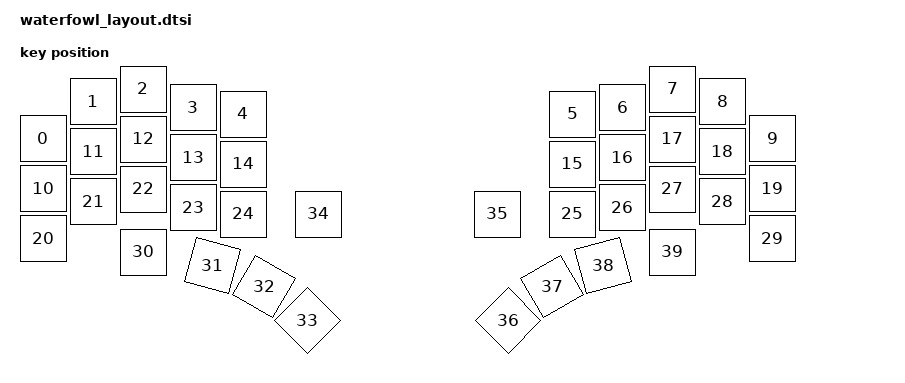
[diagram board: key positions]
/*
 * Waterfowl physical layout, needed by ZMK Studio to draw the keyboard.
 *
 * The upstream shield only defines a matrix transform, so we add a physical
 * layout here and point the chosen node at it. (The old matrix-transform
 * chosen entry is removed in waterfowl.keymap, the only file ZMK loads after
 * the shield's own files.) Positions and thumb angles come from the
 * designer's switch plate drawing (JW2586/waterfowl-keyboard-info, right
 * half, mirrored for the left); the dials aren't on the plate, so they sit
 * where QMK's layout puts them. Units are 1/100 of a key (19.05 mm);
 * rotations are 1/100 degree, clockwise, around the key's centre.
 * Order must match the 40 bindings per layer in waterfowl.keymap.
 *
 * Included from waterfowl_left.overlay and waterfowl_right.overlay; ZMK only
 * picks up per-half overlay files for this shield.
 */

#include <physical_layouts.dtsi>

/ {
    chosen {
        zmk,physical-layout = &waterfowl_layout;
    };

    waterfowl_layout: waterfowl_layout {
        compatible = "zmk,physical-layout";
        display-name = "Waterfowl";
        transform = <&default_transform>;
        kscan = <&kscan0>;
        keys
            = <&key_physical_attrs 100 100    25  124       0     0    0>  //  0 Q
            , <&key_physical_attrs 100 100   125   50       0     0    0>  //  1 W
            , <&key_physical_attrs 100 100   225   25       0     0    0>  //  2 E
            , <&key_physical_attrs 100 100   325   62       0     0    0>  //  3 R
            , <&key_physical_attrs 100 100   425   75       0     0    0>  //  4 T
            , <&key_physical_attrs 100 100  1084   75       0     0    0>  //  5 Y
            , <&key_physical_attrs 100 100  1184   62       0     0    0>  //  6 U
            , <&key_physical_attrs 100 100  1284   25       0     0    0>  //  7 I
            , <&key_physical_attrs 100 100  1384   50       0     0    0>  //  8 O
            , <&key_physical_attrs 100 100  1484  124       0     0    0>  //  9 P
            , <&key_physical_attrs 100 100    25  224       0     0    0>  // 10 A
            , <&key_physical_attrs 100 100   125  150       0     0    0>  // 11 S
            , <&key_physical_attrs 100 100   225  125       0     0    0>  // 12 D
            , <&key_physical_attrs 100 100   325  162       0     0    0>  // 13 F
            , <&key_physical_attrs 100 100   425  175       0     0    0>  // 14 G
            , <&key_physical_attrs 100 100  1084  175       0     0    0>  // 15 H
            , <&key_physical_attrs 100 100  1184  162       0     0    0>  // 16 J
            , <&key_physical_attrs 100 100  1284  125       0     0    0>  // 17 K
            , <&key_physical_attrs 100 100  1384  150       0     0    0>  // 18 L
            , <&key_physical_attrs 100 100  1484  224       0     0    0>  // 19 '
            , <&key_physical_attrs 100 100    25  324       0     0    0>  // 20 Z
            , <&key_physical_attrs 100 100   125  250       0     0    0>  // 21 X
            , <&key_physical_attrs 100 100   225  225       0     0    0>  // 22 C
            , <&key_physical_attrs 100 100   325  262       0     0    0>  // 23 V
            , <&key_physical_attrs 100 100   425  275       0     0    0>  // 24 B
            , <&key_physical_attrs 100 100  1084  275       0     0    0>  // 25 N
            , <&key_physical_attrs 100 100  1184  262       0     0    0>  // 26 M
            , <&key_physical_attrs 100 100  1284  225       0     0    0>  // 27 ,
            , <&key_physical_attrs 100 100  1384  250       0     0    0>  // 28 .
            , <&key_physical_attrs 100 100  1484  324       0     0    0>  // 29 /
            , <&key_physical_attrs 100 100   225  351       0     0    0>  // 30 L roller press
            , <&key_physical_attrs 100 100   364  378    1500   414  428>  // 31 L thumb outer
            , <&key_physical_attrs 100 100   467  420    3000   517  470>  // 32 L thumb middle
            , <&key_physical_attrs 100 100   554  488    4500   604  538>  // 33 L thumb inner
            , <&key_physical_attrs 100 100   575  275       0     0    0>  // 34 L dial press
            , <&key_physical_attrs 100 100   934  275       0     0    0>  // 35 R dial press
            , <&key_physical_attrs 100 100   955  488 (-4500)  1005  538>  // 36 R thumb inner
            , <&key_physical_attrs 100 100  1043  420 (-3000)  1093  470>  // 37 R thumb middle
            , <&key_physical_attrs 100 100  1145  378 (-1500)  1195  428>  // 38 R thumb outer
            , <&key_physical_attrs 100 100  1284  351       0     0    0>  // 39 R roller press
            ;
    };
};
